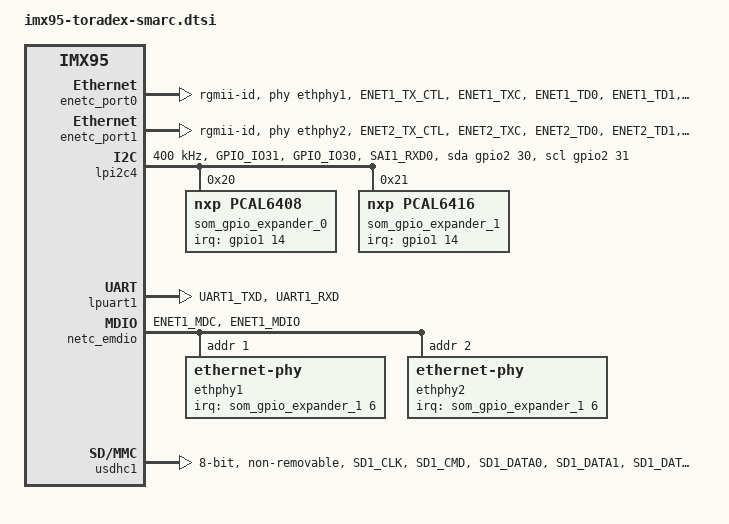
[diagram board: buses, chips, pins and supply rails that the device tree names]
// SPDX-License-Identifier: GPL-2.0-or-later OR MIT
/*
 * Copyright 2025 Toradex
 *
 * https://www.toradex.com/computer-on-modules/smarc-arm-family/nxp-imx95
 */

#include <dt-bindings/net/ti-dp83867.h>
#include "imx95.dtsi"

/ {
	chosen {
		stdout-path = "serial1:115200n8";
	};

	aliases {
		ethernet0 = &enetc_port0;
		ethernet1 = &enetc_port1;
		mmc0 = &usdhc1;
		serial1 = &lpuart1;
	};
};

/* SMARC GBE0 */
&enetc_port0 {
	pinctrl-names = "default";
	pinctrl-0 = <&pinctrl_enetc0>;
	phy-handle = <&ethphy1>;
	phy-mode = "rgmii-id";
};

/* SMARC GBE1 */
&enetc_port1 {
	pinctrl-names = "default";
	pinctrl-0 = <&pinctrl_enetc1>;
	phy-handle = <&ethphy2>;
	phy-mode = "rgmii-id";
};

/* SMARC I2C_CAM0 */
&lpi2c4 {
	pinctrl-names = "default", "gpio";
	pinctrl-0 = <&pinctrl_lpi2c4>, <&pinctrl_ctrl_io_exp_int_b>;
	pinctrl-1 = <&pinctrl_lpi2c4_gpio>, <&pinctrl_ctrl_io_exp_int_b>;
	#address-cells = <1>;
	#size-cells = <0>;
	clock-frequency = <400000>;
	scl-gpios = <&gpio2 31 (GPIO_ACTIVE_HIGH | GPIO_OPEN_DRAIN)>;
	sda-gpios = <&gpio2 30 (GPIO_ACTIVE_HIGH | GPIO_OPEN_DRAIN)>;
	status = "okay";

	som_gpio_expander_0: gpio-expander@20 {
		compatible = "nxp,pcal6408";
		reg = <0x20>;
		#interrupt-cells = <2>;
		interrupt-controller;
		interrupt-parent = <&gpio1>;
		interrupts = <14 IRQ_TYPE_LEVEL_LOW>;
		#gpio-cells = <2>;
		gpio-controller;
	};

	som_gpio_expander_1: gpio-expander@21 {
		compatible = "nxp,pcal6416";
		reg = <0x21>;
		#interrupt-cells = <2>;
		interrupt-controller;
		interrupt-parent = <&gpio1>;
		interrupts = <14 IRQ_TYPE_LEVEL_LOW>;
		#gpio-cells = <2>;
		gpio-controller;
	};
};

/* SMARC SER1, used as the Linux Console */
&lpuart1 {
	pinctrl-names = "default";
	pinctrl-0 = <&pinctrl_uart1>;
};

/* SMARC ENET_1_MDIO, shared between all ethernet ports */
&netc_emdio {
	pinctrl-names = "default";
	pinctrl-0 = <&pinctrl_emdio>;

	ethphy1: ethernet-phy@1 {
		reg = <1>;
		interrupt-parent = <&som_gpio_expander_1>;
		interrupts = <6 IRQ_TYPE_LEVEL_LOW>;
		ti,rx-internal-delay = <DP83867_RGMIIDCTL_2_00_NS>;
		ti,tx-internal-delay = <DP83867_RGMIIDCTL_2_00_NS>;
	};

	ethphy2: ethernet-phy@2 {
		reg = <2>;
		interrupt-parent = <&som_gpio_expander_1>;
		interrupts = <6 IRQ_TYPE_LEVEL_LOW>;
		ti,rx-internal-delay = <DP83867_RGMIIDCTL_2_00_NS>;
		ti,tx-internal-delay = <DP83867_RGMIIDCTL_2_00_NS>;
	};
};

&netc_prb_ierb {
	netc-interfaces = <NXP_NETC_RGMII>,
			  <NXP_NETC_RGMII>,
			  <NXP_NETC_SERIAL>;
};

/* On-module eMMC */
&usdhc1 {
	pinctrl-names = "default", "state_100mhz", "state_200mhz";
	pinctrl-0 = <&pinctrl_usdhc1>;
	pinctrl-1 = <&pinctrl_usdhc1>;
	pinctrl-2 = <&pinctrl_usdhc1_200mhz>;
	bus-width = <8>;
	non-removable;
	no-sdio;
	no-sd;
	status = "okay";
};

&scmi_iomuxc {
	/* SMARC ENET_1_MDIO, shared between all ethernet ports */
	pinctrl_emdio: emdiogrp {
		fsl,pins = <IMX95_PAD_ENET1_MDC__NETCMIX_TOP_NETC_MDC		0x57e>, /* (AK40) SMARC S45 */
			   <IMX95_PAD_ENET1_MDIO__NETCMIX_TOP_NETC_MDIO		0x97e>; /* (AJ39) SMARC S46 */
	};

	/* SMARC ENET_1 */
	pinctrl_enetc0: enetc0grp {
		fsl,pins = <IMX95_PAD_ENET1_TX_CTL__NETCMIX_TOP_ETH0_RGMII_TX_CTL   0x57e>, /* (AF32) ENET1_TX_CTL */
			   <IMX95_PAD_ENET1_TXC__NETCMIX_TOP_ETH0_RGMII_TX_CLK      0x58e>, /* (AG31) ENET1_TXC	   */
			   <IMX95_PAD_ENET1_TD0__NETCMIX_TOP_ETH0_RGMII_TD0         0x57e>, /* (AG33) ENET1_TDO	   */
			   <IMX95_PAD_ENET1_TD1__NETCMIX_TOP_ETH0_RGMII_TD1         0x57e>, /* (AG35) ENET1_TD1    */
			   <IMX95_PAD_ENET1_TD2__NETCMIX_TOP_ETH0_RGMII_TD2         0x57e>, /* (AF36) ENET1_TD2    */
			   <IMX95_PAD_ENET1_TD3__NETCMIX_TOP_ETH0_RGMII_TD3         0x57e>, /* (AG37) ENET1_TD3    */
			   <IMX95_PAD_ENET1_RX_CTL__NETCMIX_TOP_ETH0_RGMII_RX_CTL   0x57e>, /* (AH34) ENET1_RX_CTL */
			   <IMX95_PAD_ENET1_RXC__NETCMIX_TOP_ETH0_RGMII_RX_CLK      0x58e>, /* (AJ33) ENET1_RXC    */
			   <IMX95_PAD_ENET1_RD0__NETCMIX_TOP_ETH0_RGMII_RD0         0x57e>, /* (AJ35) ENET1_RD0    */
			   <IMX95_PAD_ENET1_RD1__NETCMIX_TOP_ETH0_RGMII_RD1         0x57e>, /* (AK36) ENET1_RD1    */
			   <IMX95_PAD_ENET1_RD2__NETCMIX_TOP_ETH0_RGMII_RD2         0x57e>, /* (AJ37) ENET1_RD2    */
			   <IMX95_PAD_ENET1_RD3__NETCMIX_TOP_ETH0_RGMII_RD3         0x57e>; /* (AH38) ENET1_RD3    */
	};

	/* SMARC ENET_2 */
	pinctrl_enetc1: enetc1grp {
		fsl,pins = <IMX95_PAD_ENET2_TX_CTL__NETCMIX_TOP_ETH1_RGMII_TX_CTL   0x57e>, /* (AF24) ENET2_TX_CTL */
			   <IMX95_PAD_ENET2_TXC__NETCMIX_TOP_ETH1_RGMII_TX_CLK      0x58e>, /* (AG23) ENET2_TXC    */
			   <IMX95_PAD_ENET2_TD0__NETCMIX_TOP_ETH1_RGMII_TD0         0x57e>, /* (AG25) ENET2_TD0    */
			   <IMX95_PAD_ENET2_TD1__NETCMIX_TOP_ETH1_RGMII_TD1         0x57e>, /* (AG27) ENET2_TD1    */
			   <IMX95_PAD_ENET2_TD2__NETCMIX_TOP_ETH1_RGMII_TD2         0x57e>, /* (AF28) ENET2_TD2    */
			   <IMX95_PAD_ENET2_TD3__NETCMIX_TOP_ETH1_RGMII_TD3         0x57e>, /* (AG29) ENET2_TD3    */
			   <IMX95_PAD_ENET2_RX_CTL__NETCMIX_TOP_ETH1_RGMII_RX_CTL   0x57e>, /* (AH26) ENET2_RX_CTL */
			   <IMX95_PAD_ENET2_RXC__NETCMIX_TOP_ETH1_RGMII_RX_CLK      0x58e>, /* (AJ25) ENET2_RXC    */
			   <IMX95_PAD_ENET2_RD0__NETCMIX_TOP_ETH1_RGMII_RD0         0x57e>, /* (AJ27) ENET2_RD0    */
			   <IMX95_PAD_ENET2_RD1__NETCMIX_TOP_ETH1_RGMII_RD1         0x57e>, /* (AK28) ENET2_RD1    */
			   <IMX95_PAD_ENET2_RD2__NETCMIX_TOP_ETH1_RGMII_RD2         0x57e>, /* (AJ29) ENET2_RD2    */
			   <IMX95_PAD_ENET2_RD3__NETCMIX_TOP_ETH1_RGMII_RD3         0x57e>; /* (AH30) ENET2_RD3    */
	};

	/* SMARC GPIO7 */
	pinctrl_gpio7: gpio7grp {
		fsl,pins = <IMX95_PAD_XSPI1_SCLK__GPIO5_IO_BIT9 0x31e>; /* (AJ43) SMARC P115 */
	};

	pinctrl_ctrl_io_exp_int_b: ioexpintgrp {
		fsl,pins = <IMX95_PAD_SAI1_RXD0__AONMIX_TOP_GPIO1_IO_BIT14 0x31e>; /* (H52) CTRL_IO_EXP_INT_B */
	};

	/* SMARC I2C_CAM0 */
	pinctrl_lpi2c4: lpi2c4grp {
		fsl,pins = <IMX95_PAD_GPIO_IO31__LPI2C4_SCL	0x40000b9e>, /* (V48) SMARC S5 */
			   <IMX95_PAD_GPIO_IO30__LPI2C4_SDA	0x40000b9e>; /* (V46) SMARC S7 */
	};

	pinctrl_lpi2c4_gpio: lpi2c4gpiogrp {
		fsl,pins = <IMX95_PAD_GPIO_IO31__LPI2C4_SCL	0x40000b9e>, /* (V48) SMARC S5 */
			   <IMX95_PAD_GPIO_IO30__LPI2C4_SDA	0x40000b9e>; /* (V46) SMARC S7 */
	};

	/* SMARC SER1, used as the Linux Console */
	pinctrl_uart1: uart1grp {
		fsl,pins = <IMX95_PAD_UART1_TXD__AONMIX_TOP_LPUART1_TX	0x31e>, /* (F52) SMARC P134 */
			   <IMX95_PAD_UART1_RXD__AONMIX_TOP_LPUART1_RX	0x31e>; /* (E49) SMARC P135 */
	};

	/* On-module eMMC */
	pinctrl_usdhc1: usdhc1grp {
		fsl,pins = <IMX95_PAD_SD1_CLK__USDHC1_CLK        0x158e>, /* (AG39) SD1_CLK    */
			   <IMX95_PAD_SD1_CMD__USDHC1_CMD        0x138e>, /* (AF40) SD1_CMD    */
			   <IMX95_PAD_SD1_DATA0__USDHC1_DATA0    0x138e>, /* (AG45) SD1_DATA0  */
			   <IMX95_PAD_SD1_DATA1__USDHC1_DATA1    0x138e>, /* (AE45) SD1_DATA1  */
			   <IMX95_PAD_SD1_DATA2__USDHC1_DATA2    0x138e>, /* (AD46) SD1_DATA2  */
			   <IMX95_PAD_SD1_DATA3__USDHC1_DATA3    0x138e>, /* (AG43) SD1_DATA3  */
			   <IMX95_PAD_SD1_DATA4__USDHC1_DATA4    0x138e>, /* (AF44) SD1_DATA4  */
			   <IMX95_PAD_SD1_DATA5__USDHC1_DATA5    0x138e>, /* (AG47) SD1_DATA5  */
			   <IMX95_PAD_SD1_DATA6__USDHC1_DATA6    0x138e>, /* (AD44) SD1_DATA6  */
			   <IMX95_PAD_SD1_DATA7__USDHC1_DATA7    0x138e>, /* (AC45) SD1_DATA7  */
			   <IMX95_PAD_SD1_STROBE__USDHC1_STROBE  0x158e>; /* (AG41) SD1_STROBE */
	};

	pinctrl_usdhc1_200mhz: usdhc1-200mhzgrp {
		fsl,pins = <IMX95_PAD_SD1_CLK__USDHC1_CLK        0x15fe>, /* (AG39) SD1_CLK    */
			   <IMX95_PAD_SD1_CMD__USDHC1_CMD        0x13fe>, /* (AF40) SD1_CMD    */
			   <IMX95_PAD_SD1_DATA0__USDHC1_DATA0    0x13fe>, /* (AG45) SD1_DATA0  */
			   <IMX95_PAD_SD1_DATA1__USDHC1_DATA1    0x13fe>, /* (AE45) SD1_DATA1  */
			   <IMX95_PAD_SD1_DATA2__USDHC1_DATA2    0x13fe>, /* (AD46) SD1_DATA2  */
			   <IMX95_PAD_SD1_DATA3__USDHC1_DATA3    0x13fe>, /* (AG43) SD1_DATA3  */
			   <IMX95_PAD_SD1_DATA4__USDHC1_DATA4    0x13fe>, /* (AF44) SD1_DATA4  */
			   <IMX95_PAD_SD1_DATA5__USDHC1_DATA5    0x13fe>, /* (AG47) SD1_DATA5  */
			   <IMX95_PAD_SD1_DATA6__USDHC1_DATA6    0x13fe>, /* (AD44) SD1_DATA6  */
			   <IMX95_PAD_SD1_DATA7__USDHC1_DATA7    0x13fe>, /* (AC45) SD1_DATA7  */
			   <IMX95_PAD_SD1_STROBE__USDHC1_STROBE  0x15fe>; /* (AG41) SD1_STROBE */
	};
};
